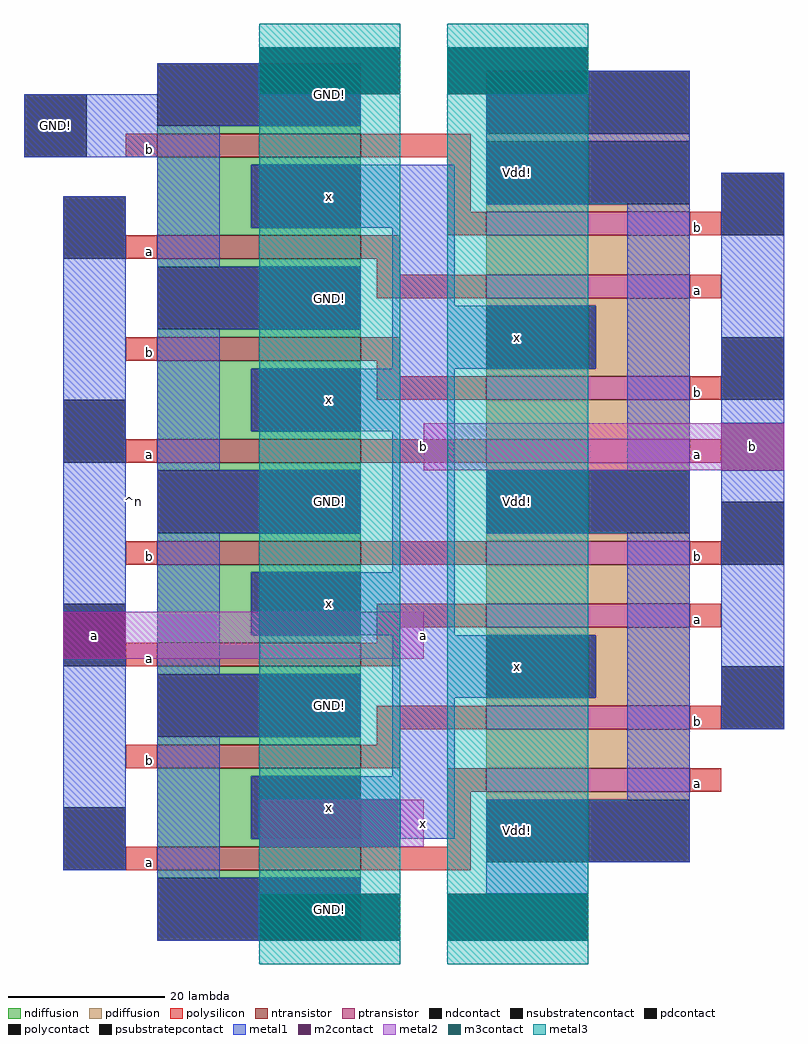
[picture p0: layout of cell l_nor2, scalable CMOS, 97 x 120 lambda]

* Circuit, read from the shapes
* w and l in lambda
.subckt l_nor2 GND! Vdd! a b x
M1 x a GND! GND! nfet w=26 l=3 m=4
M2 GND! b x GND! nfet w=26 l=3 m=4
M3 n1 a Vdd! Vdd! pfet w=26 l=3
M4 x b n1 Vdd! pfet w=26 l=3
M5 n2 a x Vdd! pfet w=26 l=3
M6 Vdd! b n2 Vdd! pfet w=26 l=3
M7 n3 a Vdd! Vdd! pfet w=26 l=3
M8 x b n3 Vdd! pfet w=26 l=3
M9 n4 a x Vdd! pfet w=26 l=3
M10 Vdd! b n4 Vdd! pfet w=26 l=3
.ends

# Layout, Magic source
magic
tech scmos
<< ndiffusion >>
rect -34 660 -8 661
rect -34 656 -8 657
rect -34 648 -22 656
rect -34 647 -8 648
rect -34 643 -8 644
rect -34 634 -8 635
rect -34 630 -8 631
rect -34 622 -22 630
rect -34 621 -8 622
rect -34 617 -8 618
rect -34 608 -8 609
rect -34 604 -8 605
rect -34 596 -22 604
rect -34 595 -8 596
rect -34 591 -8 592
rect -34 582 -8 583
rect -34 578 -8 579
rect -34 570 -22 578
rect -34 569 -8 570
rect -34 565 -8 566
<< pdiffusion >>
rect 8 659 34 660
rect 8 650 34 651
rect 8 642 34 647
rect 8 638 34 639
rect 22 630 34 638
rect 8 629 34 630
rect 8 621 34 626
rect 8 617 34 618
rect 8 608 34 609
rect 8 600 34 605
rect 8 596 34 597
rect 22 588 34 596
rect 8 587 34 588
rect 8 579 34 584
rect 8 575 34 576
<< ntransistor >>
rect -34 657 -8 660
rect -34 644 -8 647
rect -34 631 -8 634
rect -34 618 -8 621
rect -34 605 -8 608
rect -34 592 -8 595
rect -34 579 -8 582
rect -34 566 -8 569
<< ptransistor >>
rect 8 647 34 650
rect 8 639 34 642
rect 8 626 34 629
rect 8 618 34 621
rect 8 605 34 608
rect 8 597 34 600
rect 8 584 34 587
rect 8 576 34 579
<< polysilicon >>
rect -38 657 -34 660
rect -8 657 6 660
rect 3 650 6 657
rect 3 647 8 650
rect 34 647 38 650
rect -38 644 -34 647
rect -8 644 -3 647
rect -6 642 -3 644
rect -6 639 8 642
rect 34 639 38 642
rect -38 631 -34 634
rect -8 631 -3 634
rect -6 629 -3 631
rect -6 626 8 629
rect 34 626 38 629
rect -38 618 -34 621
rect -8 618 8 621
rect 34 618 38 621
rect -38 605 -34 608
rect -8 605 8 608
rect 34 605 38 608
rect -6 597 8 600
rect 34 597 38 600
rect -6 595 -3 597
rect -38 592 -34 595
rect -8 592 -3 595
rect -6 584 8 587
rect 34 584 38 587
rect -6 582 -3 584
rect -38 579 -34 582
rect -8 579 -3 582
rect 3 576 8 579
rect 34 576 38 579
rect 3 569 6 576
rect -38 566 -34 569
rect -8 566 6 569
<< ndcontact >>
rect -34 661 -8 669
rect -22 648 -8 656
rect -34 635 -8 643
rect -22 622 -8 630
rect -34 609 -8 617
rect -22 596 -8 604
rect -34 583 -8 591
rect -22 570 -8 578
rect -34 557 -8 565
<< pdcontact >>
rect 8 651 34 659
rect 8 630 22 638
rect 8 609 34 617
rect 8 588 22 596
rect 8 567 34 575
<< psubstratepcontact >>
rect -51 657 -43 665
<< nsubstratencontact >>
rect 8 660 34 668
<< polycontact >>
rect -46 644 -38 652
rect 38 647 46 655
rect -46 618 -38 626
rect 38 626 46 634
rect 38 605 46 613
rect -46 592 -38 600
rect 38 584 46 592
rect -46 566 -38 574
<< metal1 >>
rect -34 665 -21 669
rect 21 665 34 668
rect -51 661 -8 665
rect -51 657 -26 661
rect -46 599 -38 652
rect -46 566 -38 593
rect -34 643 -26 657
rect -22 648 4 656
rect 8 651 34 665
rect -34 635 -8 643
rect -4 638 4 648
rect -34 617 -26 635
rect -4 630 22 638
rect -22 622 4 630
rect -34 609 -8 617
rect -34 591 -26 609
rect -4 604 4 622
rect 26 617 34 651
rect 8 609 34 617
rect -22 596 4 604
rect -34 583 -8 591
rect -4 588 22 596
rect -34 565 -26 583
rect -4 578 4 588
rect -22 575 4 578
rect 26 575 34 609
rect 38 623 46 655
rect 38 584 46 617
rect -22 570 -21 575
rect -3 570 4 575
rect 8 567 34 575
rect -34 563 -8 565
rect 8 563 21 567
rect -34 557 -21 563
<< m2contact >>
rect -21 665 -3 671
rect 3 665 21 671
rect -46 593 -38 599
rect 38 617 46 623
rect -21 569 -3 575
rect -21 557 -3 563
rect 3 557 21 563
<< metal2 >>
rect 0 617 46 623
rect -46 593 0 599
rect -21 569 0 575
<< m3contact >>
rect -21 665 -3 671
rect 3 665 21 671
rect -21 557 -3 563
rect 3 557 21 563
<< metal3 >>
rect -21 554 -3 674
rect 3 554 21 674
<< labels >>
rlabel metal1 -12 600 -12 600 1 x
rlabel metal1 -12 652 -12 652 1 x
rlabel metal1 -12 626 -12 626 5 x
rlabel metal1 12 592 12 592 5 x
rlabel metal1 12 634 12 634 5 x
rlabel m2contact -12 574 -12 574 5 x
rlabel metal1 -12 639 -12 639 1 GND!
rlabel metal1 -12 613 -12 613 1 GND!
rlabel metal1 -12 587 -12 587 1 GND!
rlabel m2contact -12 561 -12 561 1 GND!
rlabel metal1 12 571 12 571 1 Vdd!
rlabel metal1 12 613 12 613 1 Vdd!
rlabel metal1 12 655 12 655 1 Vdd!
rlabel polysilicon -35 606 -35 606 1 b
rlabel polysilicon -35 593 -35 593 1 a
rlabel polysilicon -35 567 -35 567 1 a
rlabel polysilicon -35 580 -35 580 1 b
rlabel polysilicon -35 658 -35 658 1 b
rlabel polysilicon -35 645 -35 645 1 a
rlabel polysilicon -35 619 -35 619 1 a
rlabel polysilicon -35 632 -35 632 1 b
rlabel metal1 -12 665 -12 665 5 GND!
rlabel polysilicon 35 606 35 606 7 b
rlabel polysilicon 35 598 35 598 7 a
rlabel polysilicon 35 585 35 585 7 b
rlabel polysilicon 35 577 35 577 7 a
rlabel polysilicon 35 619 35 619 7 a
rlabel polysilicon 35 627 35 627 7 b
rlabel polysilicon 35 640 35 640 7 a
rlabel polysilicon 35 648 35 648 7 b
rlabel metal2 0 569 0 575 1 x
rlabel metal2 0 593 0 599 7 a
rlabel metal2 0 617 0 623 3 b
rlabel space 22 566 47 669 3 ^p
rlabel metal1 -47 661 -47 661 3 GND!
rlabel space -52 556 -22 670 7 ^n
rlabel metal2 -42 596 -42 596 1 a
rlabel metal2 42 620 42 620 7 b
<< end >>
